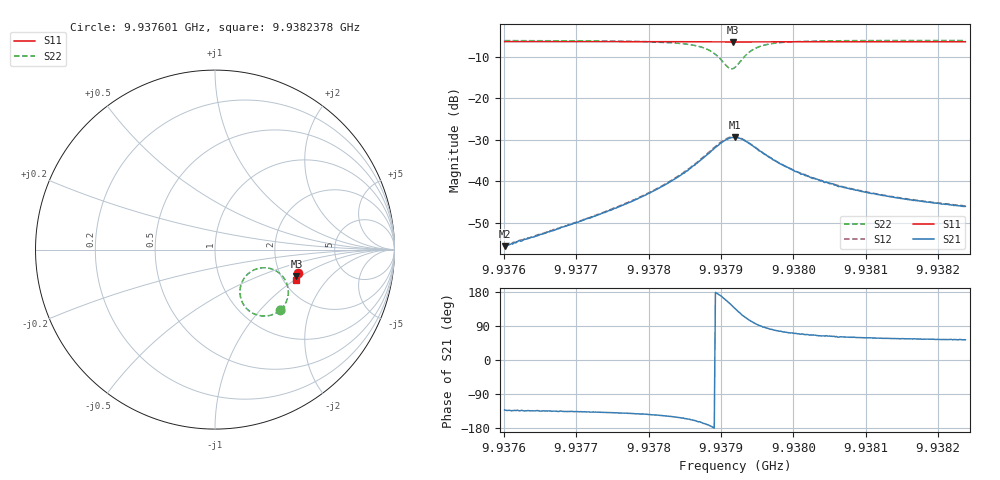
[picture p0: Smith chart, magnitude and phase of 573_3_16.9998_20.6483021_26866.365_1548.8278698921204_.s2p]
#  HZ  S  RI  R  50.00
! Rohde & Schwarz Vector Network Analyzer
! Rohde-Schwarz,ZNB20-2Port,1311601062101988,3.16
! Created: UTC 3/20/2024, 11:17:49 PM
! freq[Hz]  re:S11  im:S11  re:S21  im:S21  re:S12  im:S12  re:S22  im:S22
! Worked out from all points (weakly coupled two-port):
!   401 points, 9.937601 GHz to 9.9382378 GHz, reference 50 ohm
!   highest |S21| = -29.42 dB at 9.9379194 GHz (marker M1); lowest = -55.6 dB at 9.937601 GHz (marker M2)
!   lowest |S11| = -6.4 dB at 9.9379162 GHz (marker M3), VSWR 2.82, Z = 121 - j45.9 ohm
!   |S11| at or under -10 dB: nowhere
!   |S22| runs from -12.9 to -6.1 dB; largest |S21 - S12| = 0.0016
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9.93760103e9  0.465 -0.128  -0.0011 -0.00123  -0.00116 -0.00124  0.3621 -0.3381
9.93770769e9  0.4623 -0.1354  -0.00243 -0.0023  -0.0025 -0.00229  0.3449 -0.3499
9.93776182e9  0.4611 -0.1391  -0.00385 -0.00323  -0.00397 -0.00325  0.3296 -0.3579
9.93781436e9  0.4593 -0.1426  -0.00685 -0.00465  -0.00705 -0.00461  0.3014 -0.3674
9.93785097e9  0.4579 -0.1453  -0.0117 -0.00555  -0.0121 -0.00547  0.2591 -0.3695
9.93786689e9  0.4571 -0.1464  -0.0157 -0.00513  -0.0162 -0.00494  0.2275 -0.3622
9.93787963e9  0.4562 -0.1472  -0.0202 -0.00371  -0.0208 -0.00343  0.1933 -0.3436
9.93789077e9  0.4553 -0.1476  -0.0249 -0.000273  -0.0256 0.000499  0.16 -0.3079
9.93790192e9  0.4542 -0.1474  -0.0288 0.00719  -0.0295 0.00817  0.1391 -0.2431
9.93790988e9  0.4539 -0.1471  -0.029 0.0148  -0.0293 0.016  0.1498 -0.1826
9.93791624e9  0.4539 -0.1466  -0.0264 0.021  -0.0262 0.0222  0.1806 -0.1383
9.93791943e9  0.4541 -0.1466  -0.0243 0.0236  -0.0238 0.0248  0.2022 -0.1215
9.93792739e9  0.4546 -0.1463  -0.0172 0.0278  -0.0166 0.0285  0.2639 -0.1015
9.93793853e9  0.4554 -0.147  -0.00791 0.0275  -0.0071 0.0282  0.3369 -0.1166
9.93795445e9  0.456 -0.1482  -4.73e-05 0.0231  0.000489 0.0233  0.3894 -0.1667
9.93796878e9  0.456 -0.1496  0.00299 0.0189  0.00349 0.0189  0.4048 -0.2046
9.93798788e9  0.4559 -0.1513  0.00423 0.0146  0.00475 0.0147  0.4085 -0.2396
9.93800699e9  0.4555 -0.1528  0.00458 0.012  0.0049 0.0118  0.4059 -0.2625
9.93802609e9  0.455 -0.1542  0.00448 0.00989  0.00458 0.0101  0.4019 -0.2781
9.93806271e9  0.4539 -0.1568  0.00429 0.00748  0.00442 0.00771  0.3942 -0.297
9.93813276e9  0.4523 -0.1618  0.00356 0.00549  0.00369 0.00546  0.3824 -0.3169
9.93823783e9  0.4493 -0.1686  0.00297 0.00401  0.00308 0.004  0.3703 -0.3325
